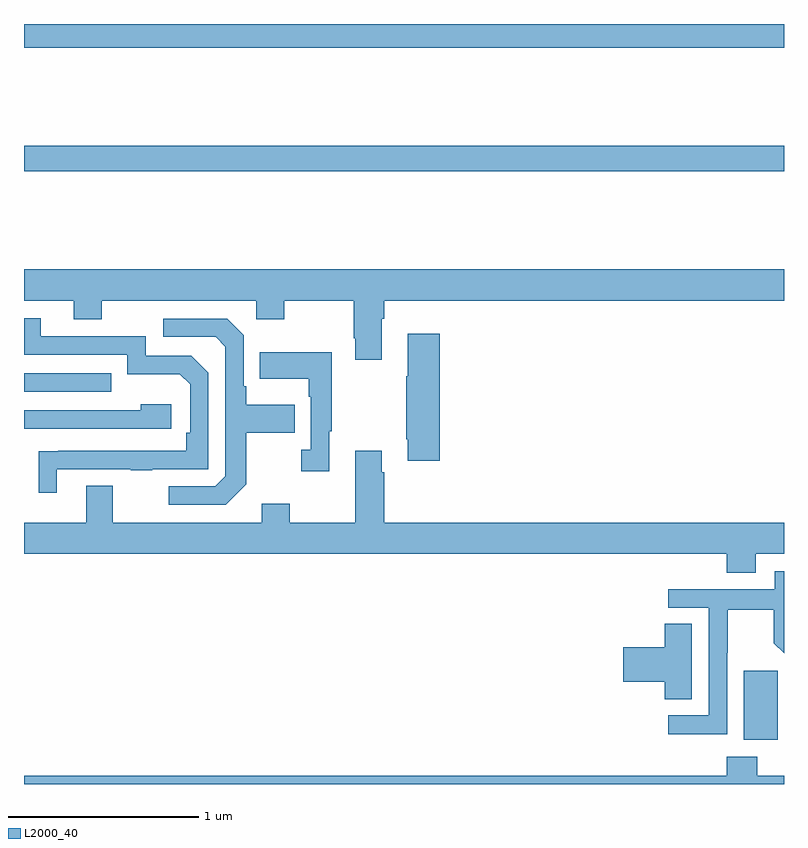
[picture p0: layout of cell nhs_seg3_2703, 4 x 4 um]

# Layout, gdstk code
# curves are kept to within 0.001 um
import gdstk
lib = gdstk.Library(unit=1e-6, precision=1e-09)
def R(c, l, rs):  # rectangles x0, y0, x1, y1
    for r in rs: c.add(gdstk.rectangle(r[:2], r[2:], *l))
def P(c, l, *ps):  # polygons
    for p in ps: c.add(gdstk.Polygon(p, *l))
L2000_40 = (2000, 40)

nhs_seg3_2703 = lib.new_cell('nhs_seg3_2703')
R(nhs_seg3_2703, L2000_40, [(254.789,670.634,254.968,670.995), (251,672.465,251.459,672.561), (251,673.624,255,673.76), (251,674.276,255,674.4)])
P(nhs_seg3_2703, L2000_40, [(252.883,672.848),(252.896,672.848),(252.896,672.944),(255,672.944),(255,673.108),(251,673.108),(251,672.944),(251.261,672.944),(251.261,672.845),(251.409,672.845),(251.409,672.944),(252.222,672.944),(252.222,672.845),(252.369,672.845),(252.369,672.944),(252.736,672.944),(252.736,672.745),(252.743,672.745),(252.743,672.633),(252.883,672.633)],
  [(251.173,672.057),(251.563,672.057),(251.563,672.052),(251.675,672.052),(251.675,672.057),(251.97,672.057),(251.97,672.564),(251.88,672.654),(251.64,672.654),(251.64,672.756),(251.089,672.756),(251.089,672.852),(251,672.852),(251,672.66),(251.544,672.66),(251.544,672.557),(251.821,672.557),(251.874,672.504),(251.874,672.25),(251.854,672.25),(251.854,672.153),(251.077,672.152),(251.077,671.934),(251.173,671.934)],
  [(252.169,671.977),(252.169,672.25),(252.425,672.25),(252.425,672.397),(252.169,672.397),(252.169,672.493),(252.156,672.493),(252.156,672.762),(252.069,672.849),(251.733,672.849),(251.733,672.753),(252.009,672.753),(252.06,672.702),(252.06,672.021),(252.006,671.967),(251.763,671.967),(251.763,671.871),(252.063,671.871)],
  [(253.187,672.769),(253.019,672.769),(253.019,672.545),(253.012,672.545),(253.012,672.214),(253.019,672.214),(253.019,672.102),(253.187,672.102)],
  [(252.607,672.257),(252.619,672.257),(252.619,672.673),(252.241,672.673),(252.241,672.533),(252.498,672.533),(252.498,672.437),(252.51,672.437),(252.51,672.158),(252.459,672.158),(252.459,672.045),(252.607,672.045)],
  [(251.776,672.4),(251.615,672.4),(251.615,672.366),(251,672.366),(251,672.27),(251.776,672.27)],
  [(254.851,671.612),(255,671.612),(255,671.776),(252.896,671.776),(252.896,672.041),(252.883,672.041),(252.883,672.154),(252.743,672.154),(252.743,671.776),(252.399,671.776),(252.399,671.875),(252.251,671.875),(252.251,671.776),(251.467,671.776),(251.467,671.971),(251.327,671.971),(251.327,671.776),(251,671.776),(251,671.612),(254.699,671.612),(254.699,671.513),(254.851,671.513)],
  [(254.7,671.092),(254.703,671.092),(254.703,671.316),(254.947,671.316),(254.947,671.141),(255,671.088),(255,671.521),(254.952,671.521),(254.952,671.424),(254.391,671.424),(254.391,671.328),(254.604,671.328),(254.604,670.761),(254.391,670.761),(254.391,670.663),(254.7,670.663)],
  [(254.515,671.243),(254.372,671.243),(254.372,671.12),(254.154,671.12),(254.154,670.937),(254.372,670.937),(254.372,670.846),(254.515,670.846)],
  [(255,670.444),(254.859,670.444),(254.859,670.543),(254.699,670.543),(254.699,670.444),(251,670.444),(251,670.4),(255,670.4)])

lib.write_gds('nhs_seg3_2703.gds')
